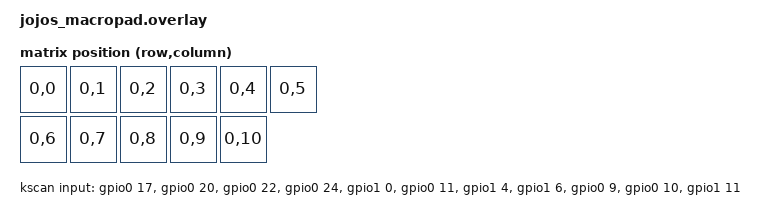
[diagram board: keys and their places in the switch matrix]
#include <dt-bindings/zmk/matrix_transform.h>

#include "jojos_macropad-layouts.dtsi"

/ {
    chosen {
        zmk,physical-layout = &default_layout;
    };

    kscan: kscan {
        // Each switch is wired directly between its GPIO and ground, so the
        // internal pull-up keeps the pin high while the switch is open.
        compatible = "zmk,kscan-gpio-direct";
        wakeup-source;

        // Order matches the physical keys (key 1 .. key 11).
        input-gpios
            = <&gpio0 17 (GPIO_ACTIVE_LOW | GPIO_PULL_UP)> // key 1  - P0.17
            , <&gpio0 20 (GPIO_ACTIVE_LOW | GPIO_PULL_UP)> // key 2  - P0.20
            , <&gpio0 22 (GPIO_ACTIVE_LOW | GPIO_PULL_UP)> // key 3  - P0.22
            , <&gpio0 24 (GPIO_ACTIVE_LOW | GPIO_PULL_UP)> // key 4  - P0.24
            , <&gpio1 0 (GPIO_ACTIVE_LOW | GPIO_PULL_UP)>  // key 5  - P1.00
            , <&gpio0 11 (GPIO_ACTIVE_LOW | GPIO_PULL_UP)> // key 6  - P0.11
            , <&gpio1 4 (GPIO_ACTIVE_LOW | GPIO_PULL_UP)>  // key 7  - P1.04
            , <&gpio1 6 (GPIO_ACTIVE_LOW | GPIO_PULL_UP)>  // key 8  - P1.06
            , <&gpio0 9 (GPIO_ACTIVE_LOW | GPIO_PULL_UP)>  // key 9  - P0.09
            , <&gpio0 10 (GPIO_ACTIVE_LOW | GPIO_PULL_UP)> // key 10 - P0.10
            , <&gpio1 11 (GPIO_ACTIVE_LOW | GPIO_PULL_UP)> // key 11 - P1.11
            ;
    };

    default_transform: default_transform {
        compatible = "zmk,matrix-transform";
        columns = <11>;
        rows = <1>;

        map = <
            RC(0, 0) RC(0, 1) RC(0, 2) RC(0, 3) RC(0, 4) RC(0, 5)
            RC(0, 6) RC(0, 7) RC(0, 8) RC(0, 9) RC(0, 10)
        >;
    };
};
